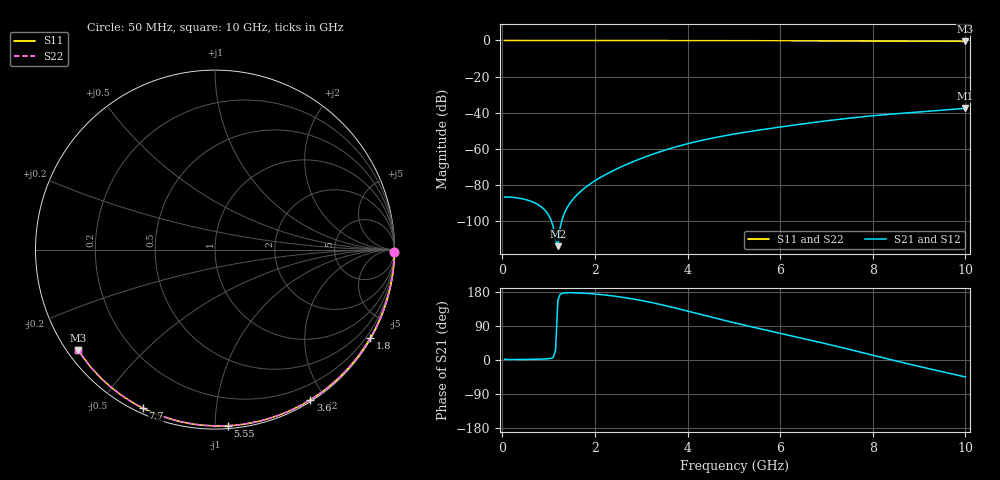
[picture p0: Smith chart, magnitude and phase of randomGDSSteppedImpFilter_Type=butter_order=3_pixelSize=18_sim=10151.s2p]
! freq	dB(S11)	phase(S11)	dB(S12)	phase(S12)
!  dB(S21)	phase(S21)	dB(S22)	phase(S22)
!S-par simulation data
#  GHz  S  DB  R 50
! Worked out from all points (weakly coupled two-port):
!   200 points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, 50 MHz to 10 GHz, reference 50 ohm
!   highest |S21| = -37.52 dB at 10 GHz (marker M1); lowest = -113.7 dB at 1.2 GHz (marker M2)
!   lowest |S11| = -0.5 dB at 10 GHz (marker M3), VSWR 35.62, Z = 1.55 - j16.4 ohm
!   |S11| at or under -10 dB: nowhere
!   |S22| runs from -0.5 to 0.0 dB; largest |S21 - S12| = 0
!   S11 on the Smith chart (normalised r, x): 50 MHz: open; 1.8 GHz: 0.03, -3.79; 3.6 GHz: 0.02, -1.82; 5.55 GHz: 0.02, -1.08; 7.7 GHz: 0.02, -0.64; 10 GHz: 0.03, -0.33
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0.05  -0.00 -0.8  -86.49 2.1  -86.49 2.1  -0.00 -0.8
0.6  -0.01 -10.0  -88.72 1.8  -88.72 1.8  -0.01 -10.0
1.2  -0.02 -19.8  -113.71 157.4  -113.71 157.4  -0.02 -19.8
1.75  -0.04 -28.7  -82.16 176.4  -82.16 176.4  -0.04 -28.7
1.8  -0.04 -29.5  -81.13 176.0  -81.13 176.0  -0.04 -29.5
1.85  -0.04 -30.3  -80.18 175.6  -80.18 175.6  -0.04 -30.3
2.2  -0.05 -35.9  -74.55 171.8  -74.55 171.8  -0.05 -35.9
2.6  -0.05 -42.2  -69.46 165.4  -69.46 165.4  -0.05 -42.2
3  -0.06 -48.5  -65.20 157.1  -65.20 157.1  -0.06 -48.5
3.4  -0.07 -54.6  -61.55 146.9  -61.55 146.9  -0.07 -54.6
3.6  -0.08 -57.6  -59.94 141.2  -59.94 141.2  -0.08 -57.6
3.9  -0.09 -62.1  -57.76 132.2  -57.76 132.2  -0.09 -62.1
4.25  -0.10 -67.3  -55.55 121.4  -55.55 121.4  -0.10 -67.3
4.65  -0.11 -73.1  -53.40 109.0  -53.40 109.0  -0.11 -73.1
5.05  -0.12 -78.8  -51.55 97.1  -51.55 97.1  -0.12 -78.8
5.55  -0.14 -85.8  -49.51 82.8  -49.51 82.8  -0.14 -85.8
6.1  -0.17 -93.4  -47.47 67.7  -47.47 67.7  -0.17 -93.4
6.7  -0.20 -101.4  -45.40 51.0  -45.40 51.0  -0.20 -101.4
7.7  -0.26 -114.5  -42.39 21.8  -42.39 21.8  -0.26 -114.5
8.35  -0.32 -122.8  -40.83 2.1  -40.83 2.1  -0.32 -122.8
9.2  -0.40 -133.6  -39.16 -22.6  -39.16 -22.6  -0.40 -133.6
10  -0.49 -143.6  -37.52 -44.7  -37.52 -44.7  -0.49 -143.6
